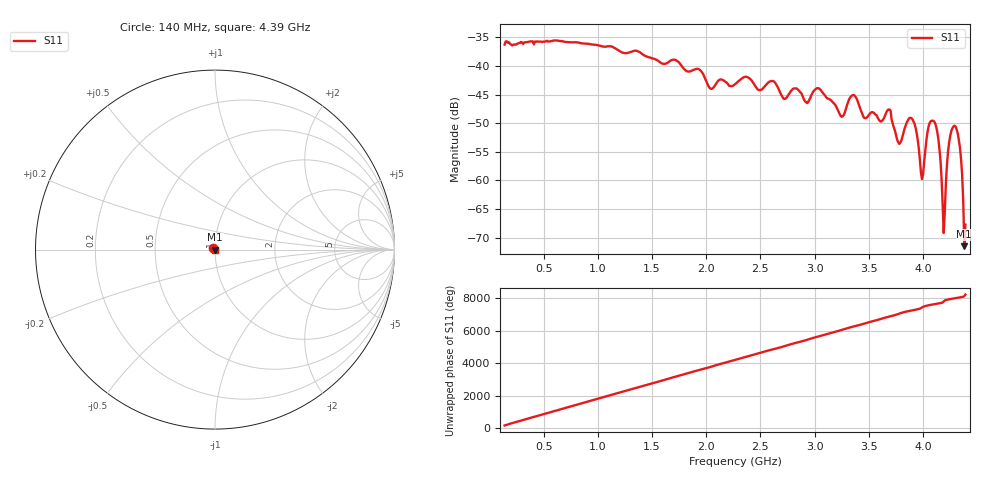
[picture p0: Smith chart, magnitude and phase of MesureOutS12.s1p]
! 140 4400 10
# MHz S MA R 50.0
!freq ReS11 ImS11
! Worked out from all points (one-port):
!   426 points, 140 MHz to 4.39 GHz, reference 50 ohm
!   lowest |S11| = -71.5 dB at 4.38 GHz (marker M1), VSWR 1.00, Z = 50 - j0.0202 ohm
!   |S11| at or under -10 dB: start of sweep to end of sweep
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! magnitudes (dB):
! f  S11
! 140 MHz  -36.3
! 680 MHz  -35.7
! 1.21 GHz  -37.5
! 1.74 GHz  -39.2
! 2.04 GHz  -44.0
! 2.27 GHz  -43.1
! 2.61 GHz  -42.6
! 2.72 GHz  -45.8
! 2.8 GHz  -44.0
! 2.93 GHz  -46.5
! 3.04 GHz  -43.9
! 3.25 GHz  -48.9
! 3.33 GHz  -45.5
! 3.47 GHz  -49.1
! 3.68 GHz  -47.6
! 3.78 GHz  -53.6
! 3.86 GHz  -49.5
! 3.92 GHz  -50.1
! 3.99 GHz  -59.8
! 4.06 GHz  -50.0
! 4.11 GHz  -50.0
! 4.14 GHz  -52.7
! 4.19 GHz  -69.2
! 4.25 GHz  -52.2
! 4.3 GHz  -50.6
! 4.34 GHz  -54.3
! 4.38 GHz  -71.5
! 4.39 GHz  -67.7
